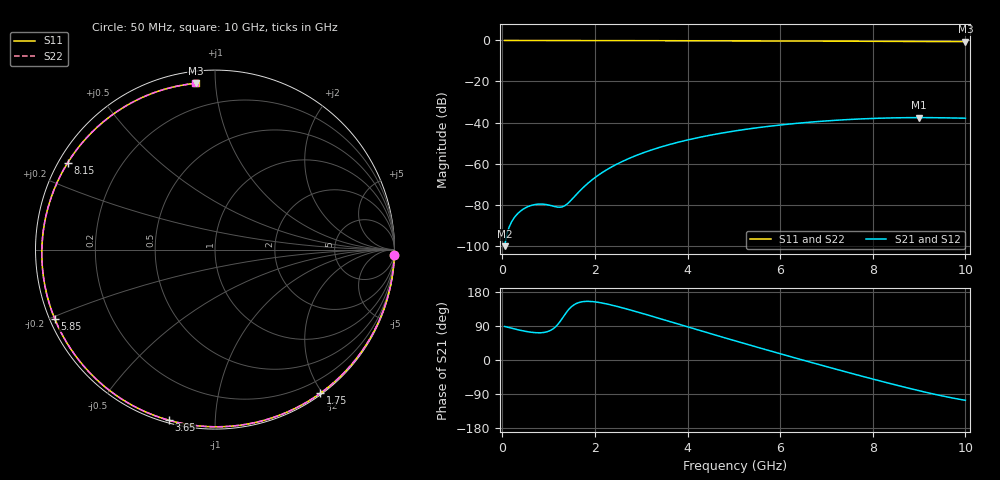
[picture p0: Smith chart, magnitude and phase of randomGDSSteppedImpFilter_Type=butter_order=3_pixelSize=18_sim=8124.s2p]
! freq	dB(S11)	phase(S11)	dB(S12)	phase(S12)
!  dB(S21)	phase(S21)	dB(S22)	phase(S22)
!S-par simulation data
#  GHz  S  DB  R 50
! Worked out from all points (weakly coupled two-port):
!   200 points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, 50 MHz to 10 GHz, reference 50 ohm
!   highest |S21| = -37.59 dB at 9 GHz (marker M1); lowest = -100.2 dB at 50 MHz (marker M2)
!   lowest |S11| = -0.6 dB at 10 GHz (marker M3), VSWR 28.49, Z = 3.15 + j44.5 ohm
!   |S11| at or under -10 dB: nowhere
!   |S22| runs from -0.6 to 0.0 dB; largest |S21 - S12| = 0
!   S11 on the Smith chart (normalised r, x): 50 MHz: 0, -72; 1.75 GHz: 0.02, -1.97; 3.65 GHz: 0.01, -0.77; 5.85 GHz: 0.01, -0.21; 8.15 GHz: 0.03, +0.27; 10 GHz: 0.06, +0.89
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0.05  -0.00 -1.6  -100.25 88.5  -100.25 88.5  -0.00 -1.6
0.65  -0.03 -20.5  -80.24 72.8  -80.24 72.8  -0.03 -20.5
1  -0.04 -31.3  -80.18 75.9  -80.18 75.9  -0.04 -31.3
1.35  -0.05 -41.9  -80.52 119.7  -80.52 119.7  -0.05 -41.9
1.4  -0.05 -43.4  -79.72 128.2  -79.72 128.2  -0.05 -43.4
1.45  -0.06 -44.9  -78.69 135.5  -78.69 135.5  -0.06 -44.9
1.75  -0.07 -53.8  -71.61 154.1  -71.61 154.1  -0.07 -53.8
2.05  -0.08 -62.4  -66.03 152.6  -66.03 152.6  -0.08 -62.4
2.45  -0.09 -73.7  -60.55 142.3  -60.55 142.3  -0.09 -73.6
2.9  -0.11 -85.8  -55.97 127.3  -55.97 127.3  -0.11 -85.8
3.4  -0.12 -98.8  -52.08 109.4  -52.08 109.4  -0.12 -98.8
3.65  -0.13 -105.1  -50.47 100.3  -50.47 100.3  -0.13 -105.1
4.3  -0.16 -121.0  -47.01 76.7  -47.01 76.7  -0.16 -121.0
5.05  -0.19 -138.6  -44.00 49.8  -44.00 49.8  -0.19 -138.5
5.85  -0.24 -156.7  -41.58 21.7  -41.58 21.7  -0.24 -156.7
6.7  -0.30 -176.0  -39.71 -7.4  -39.71 -7.4  -0.30 -176.0
7.45  -0.36 166.6  -38.56 -32.4  -38.56 -32.4  -0.36 166.6
8.15  -0.42 149.5  -37.89 -55.1  -37.89 -55.1  -0.42 149.6
8.35  -0.44 144.4  -37.77 -61.4  -37.77 -61.4  -0.44 144.5
9  -0.50 127.0  -37.59 -81.0  -37.59 -81.0  -0.50 127.1
9.55  -0.56 110.9  -37.70 -96.1  -37.70 -96.1  -0.56 111.0
10  -0.61 96.6  -37.88 -106.3  -37.88 -106.3  -0.61 96.7
